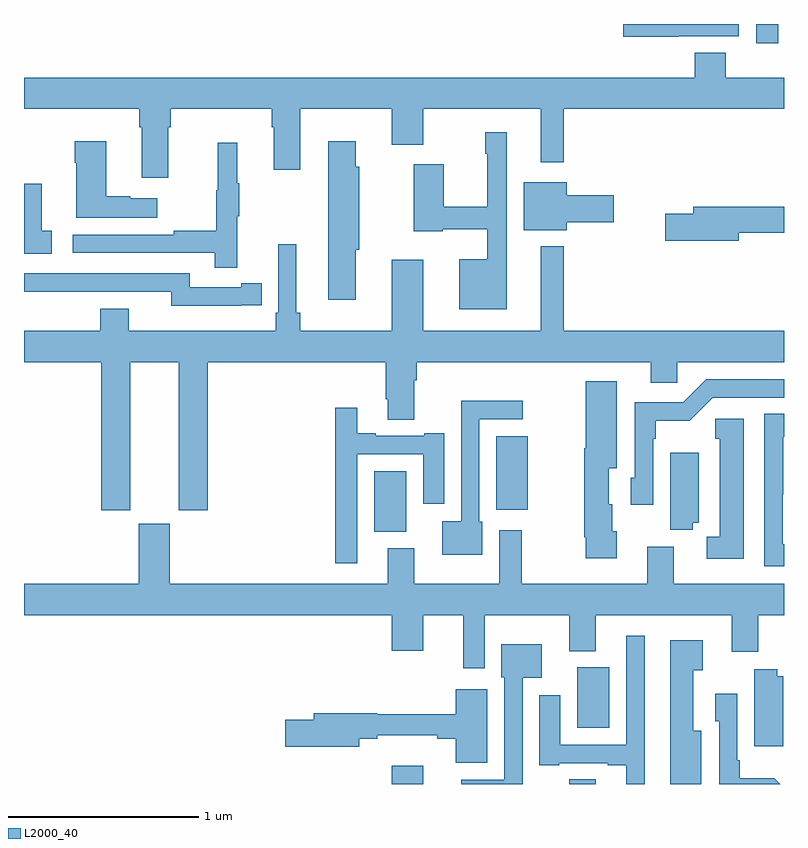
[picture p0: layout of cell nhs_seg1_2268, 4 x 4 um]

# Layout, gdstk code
import gdstk
lib = gdstk.Library(unit=1e-6, precision=1e-09)
def R(c, l, rs):  # rectangles x0, y0, x1, y1
    for r in rs: c.add(gdstk.rectangle(r[:2], r[2:], *l))
def P(c, l, *ps):  # polygons
    for p in ps: c.add(gdstk.Polygon(p, *l))
L2000_40 = (2000, 40)

nhs_seg1_2268 = lib.new_cell('nhs_seg1_2268')
R(nhs_seg1_2268, L2000_40, [(236.936,528.199,237.1,528.295), (237.869,528.199,238.009,528.224), (237.911,528.494,238.081,528.814), (236.843,529.526,237.013,529.846), (237.485,529.643,237.652,530.029), (238.854,532.098,238.969,532.199)])
P(nhs_seg1_2268, L2000_40, [(238.445,532.134),(238.761,532.134),(238.761,532.199),(238.153,532.199),(238.153,532.133),(238.445,532.133)],
  [(235.759,531.656),(235.772,531.656),(235.772,531.752),(236.303,531.752),(236.303,531.656),(236.315,531.656),(236.315,531.432),(236.455,531.432),(236.455,531.752),(236.936,531.752),(236.936,531.564),(237.1,531.564),(237.1,531.752),(237.719,531.752),(237.719,531.471),(237.841,531.471),(237.841,531.752),(239,531.752),(239,531.916),(238.694,531.916),(238.694,532.049),(238.529,532.049),(238.529,531.916),(235,531.916),(235,531.752),(235.607,531.752),(235.607,531.656),(235.619,531.656),(235.619,531.39),(235.759,531.39)],
  [(237.541,531.628),(237.427,531.628),(237.427,531.515),(237.437,531.515),(237.437,531.236),(237.208,531.236),(237.208,531.46),(237.05,531.46),(237.05,531.107),(237.204,531.107),(237.204,531.119),(237.437,531.119),(237.437,530.962),(237.29,530.962),(237.29,530.699),(237.541,530.699)],
  [(236.746,531.011),(236.764,531.011),(236.764,531.447),(236.746,531.447),(236.746,531.583),(236.6,531.583),(236.6,530.748),(236.746,530.748)],
  [(235.702,531.283),(235.559,531.283),(235.559,531.293),(235.432,531.293),(235.432,531.583),(235.267,531.583),(235.267,531.47),(235.274,531.47),(235.274,531.179),(235.702,531.179)],
  [(236.123,531.187),(236.134,531.187),(236.134,531.361),(236.123,531.361),(236.123,531.574),(236.02,531.574),(236.02,531.324),(236.013,531.324),(236.013,531.11),(235.789,531.11),(235.789,531.09),(235.257,531.09),(235.257,530.994),(236.005,530.994),(236.005,530.916),(236.123,530.916)],
  [(237.856,531.155),(238.105,531.155),(238.105,531.297),(237.856,531.297),(237.856,531.367),(237.629,531.367),(237.629,531.113),(237.856,531.113)],
  [(235.147,531.111),(235.094,531.111),(235.094,531.358),(235,531.358),(235,530.991),(235.147,530.991)],
  [(238.762,531.1),(239,531.1),(239,531.236),(238.523,531.236),(238.523,531.2),(238.374,531.2),(238.374,531.058),(238.762,531.058)],
  [(236.144,530.718),(236.252,530.718),(236.252,530.834),(236.144,530.834),(236.144,530.814),(235.872,530.814),(235.872,530.886),(235,530.886),(235,530.789),(235.316,530.789),(235.316,530.79),(235.776,530.79),(235.776,530.717),(236.144,530.717)],
  [(237.841,531.028),(237.719,531.028),(237.719,530.584),(237.1,530.584),(237.1,530.959),(236.936,530.959),(236.936,530.584),(236.453,530.584),(236.453,530.68),(236.434,530.68),(236.434,531.04),(236.337,531.04),(236.337,530.68),(236.324,530.68),(236.324,530.584),(235.552,530.584),(235.552,530.701),(235.4,530.701),(235.4,530.584),(235,530.584),(235,530.42),(235.406,530.42),(235.406,529.641),(235.558,529.641),(235.558,530.42),(235.814,530.42),(235.814,529.641),(235.967,529.641),(235.967,530.42),(236.903,530.42),(236.903,530.224),(236.915,530.224),(236.915,530.116),(237.055,530.116),(237.055,530.324),(237.068,530.324),(237.068,530.42),(238.298,530.42),(238.298,530.31),(238.437,530.31),(238.437,530.42),(239,530.42),(239,530.584),(237.841,530.584)],
  [(238.311,530.015),(238.324,530.015),(238.324,530.111),(238.505,530.111),(238.626,530.232),(239,530.232),(239,530.328),(238.59,530.328),(238.47,530.208),(238.215,530.208),(238.215,529.812),(238.194,529.812),(238.194,529.668),(238.311,529.668)],
  [(238.12,529.53),(238.096,529.53),(238.096,529.671),(238.078,529.671),(238.078,529.862),(238.12,529.862),(238.12,530.32),(237.956,530.32),(237.956,529.966),(237.949,529.966),(237.949,529.498),(237.956,529.498),(237.956,529.386),(238.12,529.386)],
  [(237.412,529.578),(237.396,529.578),(237.396,530.118),(237.625,530.118),(237.625,530.216),(237.3,530.216),(237.3,529.582),(237.2,529.582),(237.2,529.406),(237.412,529.406)],
  [(236.754,529.935),(237.101,529.935),(237.101,529.674),(237.211,529.674),(237.211,530.044),(237.107,530.044),(237.107,530.031),(236.851,530.031),(236.851,530.044),(236.755,530.044),(236.755,530.179),(236.638,530.179),(236.638,529.362),(236.754,529.362)],
  [(239,529.46),(238.993,529.46),(238.993,529.723),(238.995,529.723),(238.995,530.027),(239,530.027),(239,530.147),(238.896,530.147),(238.896,529.344),(239,529.344)],
  [(238.789,530.122),(238.639,530.122),(238.639,530.016),(238.661,530.016),(238.661,529.5),(238.593,529.5),(238.593,529.385),(238.789,529.385)],
  [(238.52,529.574),(238.552,529.574),(238.552,529.942),(238.4,529.942),(238.4,529.537),(238.52,529.537)],
  [(237.424,529.088),(237.869,529.088),(237.869,528.899),(238.009,528.899),(238.009,529.088),(238.724,529.088),(238.724,528.894),(238.864,528.894),(238.864,529.088),(239,529.088),(239,529.252),(238.42,529.252),(238.42,529.447),(238.28,529.447),(238.28,529.252),(237.621,529.252),(237.621,529.534),(237.5,529.534),(237.5,529.252),(237.055,529.252),(237.055,529.441),(236.915,529.441),(236.915,529.252),(235.768,529.252),(235.768,529.569),(235.604,529.569),(235.604,529.252),(235,529.252),(235,529.088),(236.936,529.088),(236.936,528.9),(237.1,528.9),(237.1,529.088),(237.311,529.088),(237.311,528.807),(237.424,528.807)],
  [(238.267,528.979),(238.17,528.979),(238.17,528.405),(237.823,528.405),(237.823,528.667),(237.713,528.667),(237.713,528.297),(237.817,528.297),(237.817,528.309),(238.073,528.309),(238.073,528.297),(238.169,528.297),(238.169,528.199),(238.267,528.199)],
  [(238.564,528.478),(238.522,528.478),(238.522,528.799),(238.573,528.799),(238.573,528.955),(238.4,528.955),(238.4,528.199),(238.564,528.199)],
  [(237.624,528.758),(237.724,528.758),(237.724,528.934),(237.512,528.934),(237.512,528.762),(237.528,528.762),(237.528,528.222),(237.3,528.222),(237.3,528.199),(237.624,528.199)],
  [(238.996,528.766),(238.964,528.766),(238.964,528.803),(238.844,528.803),(238.844,528.399),(238.996,528.399)],
  [(237.439,528.697),(237.272,528.697),(237.272,528.565),(236.86,528.565),(236.86,528.572),(236.525,528.572),(236.525,528.536),(236.376,528.536),(236.376,528.394),(236.764,528.394),(236.764,528.436),(236.86,528.436),(236.86,528.455),(237.176,528.455),(237.176,528.436),(237.272,528.436),(237.272,528.311),(237.439,528.311)],
  [(238.949,528.229),(238.768,528.229),(238.768,528.325),(238.755,528.325),(238.755,528.673),(238.638,528.673),(238.638,528.528),(238.659,528.528),(238.659,528.199),(238.979,528.199)])

lib.write_gds('nhs_seg1_2268.gds')
